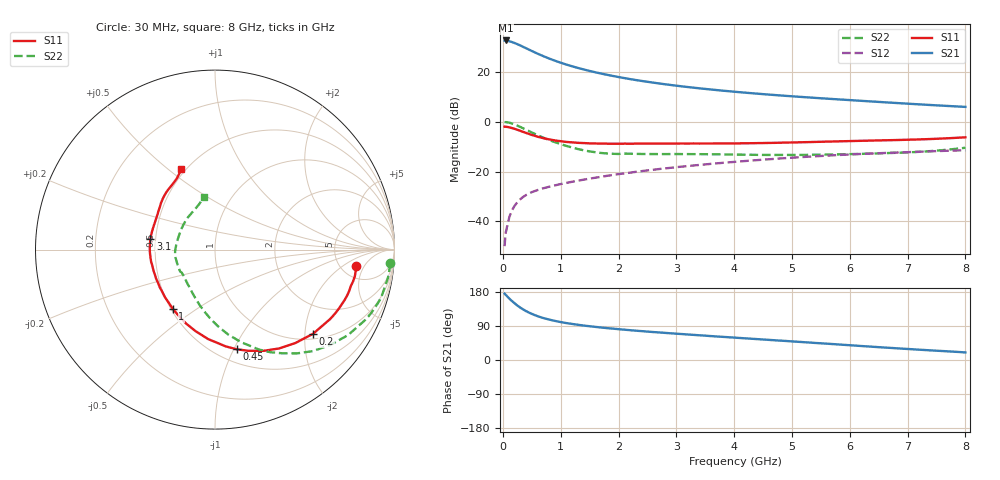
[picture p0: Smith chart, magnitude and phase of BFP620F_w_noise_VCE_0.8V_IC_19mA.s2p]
! Infineon Technologies  Discrete & RF Semiconductors
! BFP620F
! VCE =  0.8 V,  IC =  19 mA
! Common Emitter S-Parameters:  Dec 2014
# GHz  S  MA  R  50
!  f  S11  S21  S12  S22
! GHz  MAG  ANG  MAG  ANG  MAG  ANG  MAG  ANG
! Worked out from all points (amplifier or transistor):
!   95 points, 30 MHz to 8 GHz, reference 50 ohm
!   highest |S21| = 32.5 dB at 50 MHz (marker M1)
!   |S21| within 3 dB of that: start of sweep to 391.1 MHz
!   unconditionally stable (mu >= 1): 3.041 GHz to end of sweep
!   at 300 MHz: K = 0.27, MSG = 30.8 dB, |S12| = -31.1 dB
!   at 3.3 GHz: K = 1.01, MAG = 15.0 dB, |S12| = -17.6 dB
!   at 8 GHz: K = 1.07, MAG = 7.1 dB, |S12| = -11.4 dB
!   lowest NFmin = 0.81 dB at 450 MHz
!   S11 on the Smith chart (normalised r, x): 30 MHz: 6.93, -3.46; 200 MHz: 1.13, -2.21; 450 MHz: 0.63, -1.03; 1 GHz: 0.51, -0.40; 3.1 GHz: 0.47, +0.07; 8 GHz: 0.47, +0.55
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0.03  0.7935 -6.7  42.13 175.1  0.0032 95.9  0.9762 -4.5
0.05  0.7931 -10.9  42.35 171.8  0.0061 89.5  0.9778 -8.1
0.08  0.7824 -17.1  41.9 167.0  0.0083 80.3  0.9672 -13.3
0.12  0.7644 -25.5  40.52 160.8  0.0131 79.3  0.9468 -20.1
0.15  0.7484 -31.3  39.65 156.6  0.016 76.6  0.9249 -25.0
0.2  0.7201 -40.6  37.7 150.0  0.0204 72.7  0.8819 -32.6
0.25  0.687 -49.2  35.72 143.8  0.0243 68.9  0.8344 -39.5
0.3  0.6561 -57.1  33.68 138.4  0.0278 65.9  0.7861 -46.0
0.35  0.6244 -64.7  31.52 133.5  0.031 63.2  0.7368 -51.7
0.45  0.5685 -77.7  27.79 125.2  0.0363 60.0  0.6486 -61.8
0.6  0.4999 -94.4  23.03 115.6  0.0426 56.6  0.5354 -74.3
0.7  0.4665 -103.6  20.52 110.7  0.0463 55.8  0.4778 -81.3
0.8  0.4416 -111.6  18.4 106.7  0.0496 55.2  0.4285 -87.6
1  0.4057 -125.4  15.18 100.1  0.0562 54.7  0.3545 -98.9
1.4  0.3724 -145.9  11.1 90.9  0.0689 54.7  0.2667 -119.4
2  0.3607 -166.7  7.835 81.4  0.0888 54.3  0.2252 -145.3
2.7  0.3637 177.6  5.831 72.7  0.1122 52.3  0.224 -163.0
3.1  0.3649 170.4  5.092 68.4  0.1257 50.7  0.2239 -170.0
4.1  0.3676 155.4  3.887 58.1  0.1596 45.6  0.2183 175.3
5.4  0.3926 140.9  2.996 45.0  0.2021 37.1  0.2175 152.6
6.7  0.4256 126.9  2.405 32.0  0.2378 27.4  0.2355 128.7
8  0.4857 113.0  1.974 20.0  0.2677 18.0  0.2998 101.7
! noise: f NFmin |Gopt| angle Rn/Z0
0.45  0.81  0.06  3  0.21
0.9  0.87  0.06  11  0.18
1.5  0.92  0.06  12  0.14
1.8  0.94  0.05  14  0.14
1.9  0.95  0.03  31  0.16
2.4  0.98  0.02  68  0.15
3.5  1.06  0.03  160  0.14
5.5  1.2  0.14  227  0.1
6  1.23  0.14  248  0.14
